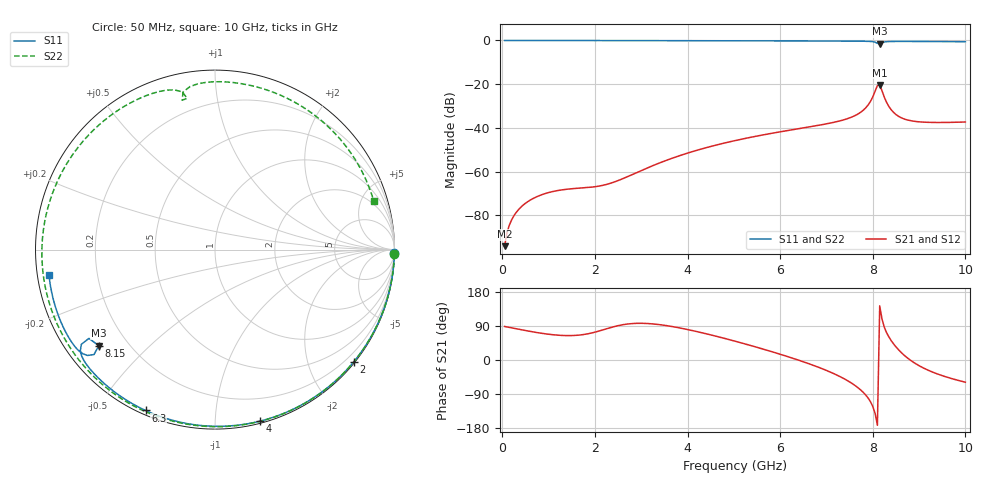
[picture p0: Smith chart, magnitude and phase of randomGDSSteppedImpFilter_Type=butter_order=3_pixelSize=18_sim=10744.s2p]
! freq	dB(S11)	phase(S11)	dB(S12)	phase(S12)
!  dB(S21)	phase(S21)	dB(S22)	phase(S22)
!S-par simulation data
#  GHz  S  DB  R 50
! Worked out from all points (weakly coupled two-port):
!   200 points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, 50 MHz to 10 GHz, reference 50 ohm
!   highest |S21| = -20.35 dB at 8.15 GHz (marker M1); lowest = -94.2 dB at 50 MHz (marker M2)
!   lowest |S11| = -1.5 dB at 8.15 GHz (marker M3), VSWR 11.53, Z = 4.89 - j17.8 ohm
!   |S11| at or under -10 dB: nowhere
!   |S22| runs from -1.4 to 0.0 dB; largest |S21 - S12| = 0
!   S11 on the Smith chart (normalised r, x): 50 MHz: open; 2 GHz: 0.03, -2.83; 4 GHz: 0.02, -1.30; 6.3 GHz: 0.02, -0.66; 8.15 GHz: 0.10, -0.36; 10 GHz: 0.03, -0.07
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0.05  -0.00 -1.0  -94.17 88.5  -94.17 88.5  -0.01 -1.6
0.25  -0.01 -5.0  -80.28 83.7  -80.28 83.7  -0.01 -7.7
0.5  -0.01 -9.9  -74.54 77.8  -74.54 77.8  -0.02 -15.3
0.85  -0.02 -16.8  -70.63 70.5  -70.63 70.5  -0.03 -25.9
1.75  -0.04 -34.1  -67.48 67.1  -67.48 67.1  -0.07 -52.8
2  -0.05 -38.9  -66.97 73.4  -66.97 73.4  -0.08 -60.1
2.7  -0.07 -51.9  -62.38 94.9  -62.38 94.9  -0.10 -80.4
3.4  -0.09 -64.6  -56.03 93.2  -56.03 93.2  -0.13 -100.5
4  -0.10 -75.2  -51.57 80.4  -51.57 80.4  -0.16 -117.7
5.05  -0.14 -93.0  -45.73 48.9  -45.73 48.9  -0.23 -148.4
5.7  -0.17 -103.7  -42.96 26.3  -42.96 26.3  -0.28 -168.4
6.3  -0.21 -113.4  -40.74 3.5  -40.74 3.5  -0.34 171.8
6.7  -0.23 -119.8  -39.32 -13.3  -39.32 -13.3  -0.38 157.7
7.7  -0.33 -136.2  -33.41 -75.1  -33.41 -75.1  -0.51 118.4
7.9  -0.40 -140.3  -29.52 -100.5  -29.52 -100.5  -0.59 109.3
8.1  -1.32 -144.8  -20.62 -172.2  -20.62 -172.2  -1.34 100.4
8.15  -1.51 -140.4  -20.35 142.9  -20.35 142.9  -1.39 102.4
8.35  -0.50 -143.0  -30.29 60.4  -30.29 60.4  -0.60 93.2
8.55  -0.44 -147.1  -34.63 27.9  -34.63 27.9  -0.57 83.4
8.8  -0.44 -151.5  -36.66 0.6  -36.66 0.6  -0.58 71.7
9.45  -0.51 -162.3  -37.55 -39.2  -37.55 -39.2  -0.63 41.6
10  -0.58 -171.5  -37.32 -58.6  -37.32 -58.6  -0.68 17.0
